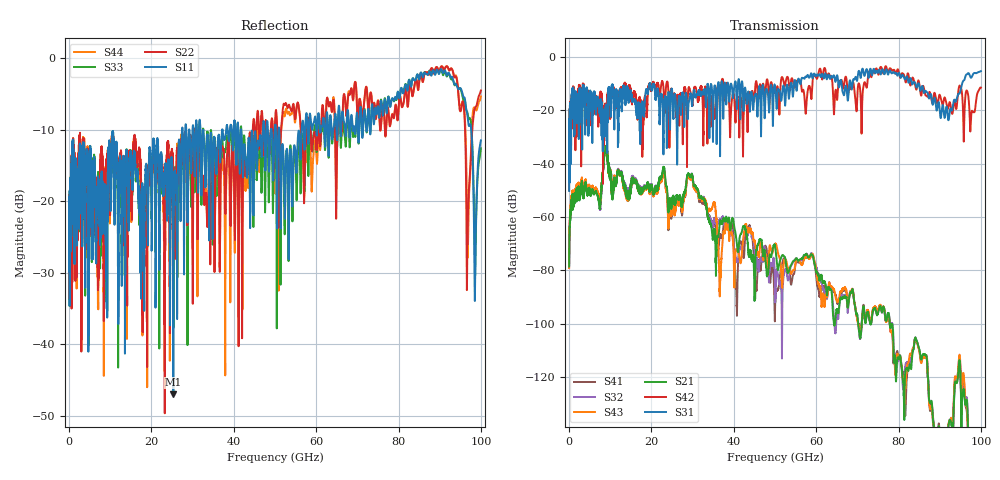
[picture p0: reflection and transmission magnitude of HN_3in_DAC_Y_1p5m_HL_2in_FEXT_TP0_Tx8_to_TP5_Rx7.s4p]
# GHz S RI R 45
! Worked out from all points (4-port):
!   4000 points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, 25 MHz to 100 GHz, reference 45 ohm
!   strongest paths, dB at 25 MHz, 25.02 GHz, 50.02 GHz, 75.03 GHz, 100 GHz:
!     S31: -50.2, -12.5, -11.0, -5.9, -5.4
!     S42: -50.1, -13.8, -13.1, -6.4, -11.5
!     S21: -78.5, -53.8, -70.9, -96.1, -180.5
!     S43: -79.1, -55.6, -70.0, -94.7, -180.5
!     S32: -77.8, -54.4, -86.1, -96.0, -187.5
!     S41: -78.5, -56.1, -94.3, -94.8, -181.7
!   lowest |S11| = -47.0 dB at 25.32 GHz (marker M1), VSWR 1.01, Z = 45.3 - j0.263 ohm
!   |S11| at or under -10 dB: start of sweep to 27.44 GHz; 31.89 GHz to 37.22 GHz (5.332 GHz wide, 15.4 % of centre); 51.03 GHz to 56.5 GHz (5.469 GHz wide, 10.2 % of centre)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
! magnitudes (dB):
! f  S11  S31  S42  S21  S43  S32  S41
! 25 MHz  -24.5  -50.2  -50.1  -78.5  -79.1  -77.8  -78.5
! 1.2 GHz  -25.5  -29.8  -16.2  -53.2  -51.9  -52.9  -52.6
! 8.9 GHz  -18.4  -18.6  -18.9  -35.2  -35.2  -35.2  -35.3
! 25.32 GHz  -47.0  -22.9  -16.6  -52.0  -54.4  -53.5  -53.7
! 29.52 GHz  -13.8  -13.7  -13.5  -45.2  -46.0  -45.1  -45.6
! 40.65 GHz  -14.9  -14.9  -17.1  -68.6  -72.2  -76.0  -89.8
! 100 GHz  -11.5  -5.4  -11.5  -180.5  -180.5  -187.5  -181.7
